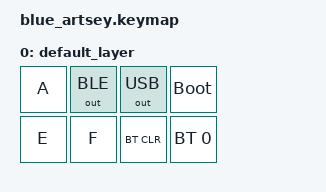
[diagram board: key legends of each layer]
#include <behaviors.dtsi>
#include <dt-bindings/zmk/keys.h>
#include <dt-bindings/zmk/bt.h>
#include <dt-bindings/zmk/outputs.h>
/ {
	
	chosen {
		zephyr,console = &cdc_acm_uart;
	};
	
	keymap {
		compatible = "zmk,keymap";

		default_layer {
			bindings = <
				&kp A	&out OUT_BLE	&out OUT_USB	&bootloader
				&kp E	&kp F			&bt BT_CLR	 	&bt BT_SEL 0
			>;
		};
	};
};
